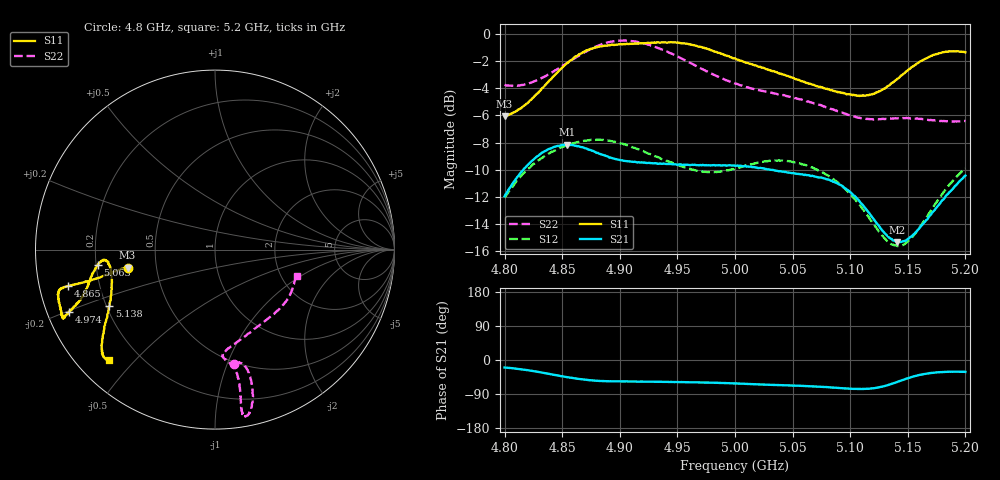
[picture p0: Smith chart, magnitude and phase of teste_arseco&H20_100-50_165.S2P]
! Network Analyzer HP8722D
! Hewlett-Packard
! Data name: Linha & Wilkinson
! Saver's name: Rodrigo Anjos
! Comments: Teste da utilização de aquisição
! continua pelo VNA HP8722D
! Time and date: 6/5/2025 13:56
!  Frequency  S11  S21  S12  S22
# HZ  S  MA R 50
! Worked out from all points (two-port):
!   401 points, 4.8 GHz to 5.2 GHz, reference 50 ohm
!   highest |S21| = -8.16 dB at 4.854 GHz (marker M1); lowest = -15.3 dB at 5.141 GHz (marker M2)
!   |S21| within 3 dB of the highest: 4.806 GHz to 5.092 GHz (286.6 MHz wide, 5.79 % of centre); 5.191559 GHz to end of sweep
!   lowest |S11| = -6.1 dB at 4.8 GHz (marker M3), VSWR 2.98, Z = 16.9 - j4.54 ohm
!   |S11| at or under -10 dB: nowhere
!   |S22| runs from -6.5 to -0.5 dB; largest |S21 - S12| = 0.62
!   S11 on the Smith chart (normalised r, x): 4.8 GHz: 0.34, -0.09; 4.865 GHz: 0.09, -0.12; 4.974 GHz: 0.06, -0.20; 5.063 GHz: 0.21, -0.06; 5.138 GHz: 0.21, -0.24; 5.2 GHz: 0.09, -0.42
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4.8e9  0.4976 -168.3  0.2528 -19.9  0.2498 -141.0  0.6489 -80.4
4.828e9  0.6015 -167.2  0.3538 -30.8  0.3387 -145.1  0.6748 -75.4
4.854e9  0.7788 -166.0  0.391 -45.3  0.3887 -150.0  0.7787 -74.7
4.865e9  0.8423 -166.1  0.3848 -50.2  0.4009 -151.9  0.8339 -75.3
4.867e9  0.8489 -166.0  0.3831 -51.0  0.4031 -152.2  0.8417 -75.4
4.899e9  0.9129 -163.1  0.3444 -56.7  0.3973 -156.9  0.943 -79.1
4.934e9  0.9289 -156.8  0.3329 -57.6  0.351 -155.8  0.8833 -80.5
4.953e9  0.9223 -155.8  0.3309 -58.2  0.3259 -152.1  0.8135 -79.9
4.974e9  0.8839 -156.8  0.3284 -59.4  0.3108 -145.7  0.7329 -79.6
5e9  0.8117 -159.1  0.3273 -62.0  0.3193 -137.3  0.6561 -81.4
5.035e9  0.7234 -165.5  0.3142 -65.8  0.3422 -134.5  0.6025 -85.6
5.063e9  0.6585 -172.6  0.302 -68.7  0.3263 -136.6  0.5637 -83.6
5.067e9  0.6505 -173.1  0.3007 -69.3  0.3227 -136.9  0.5573 -82.7
5.086e9  0.616 -174.5  0.2854 -72.9  0.2907 -138.7  0.525 -75.3
5.102e9  0.5945 -171.7  0.2571 -76.1  0.2521 -138.8  0.4983 -65.9
5.117e9  0.5977 -164.9  0.2177 -75.5  0.2087 -135.1  0.485 -55.1
5.134e9  0.6463 -154.1  0.1779 -65.1  0.1703 -120.6  0.4879 -43.3
5.138e9  0.6669 -151.9  0.1738 -60.9  0.167 -115.4  0.4878 -40.8
5.141e9  0.6833 -150.3  0.1715 -57.6  0.1657 -111.4  0.4884 -39.0
5.153e9  0.7523 -145.2  0.1797 -45.3  0.1772 -96.1  0.4888 -32.8
5.173e9  0.8366 -138.9  0.2241 -33.4  0.2339 -80.8  0.4814 -24.3
5.2e9  0.8543 -133.7  0.301 -31.4  0.3198 -77.0  0.4774 -17.6
